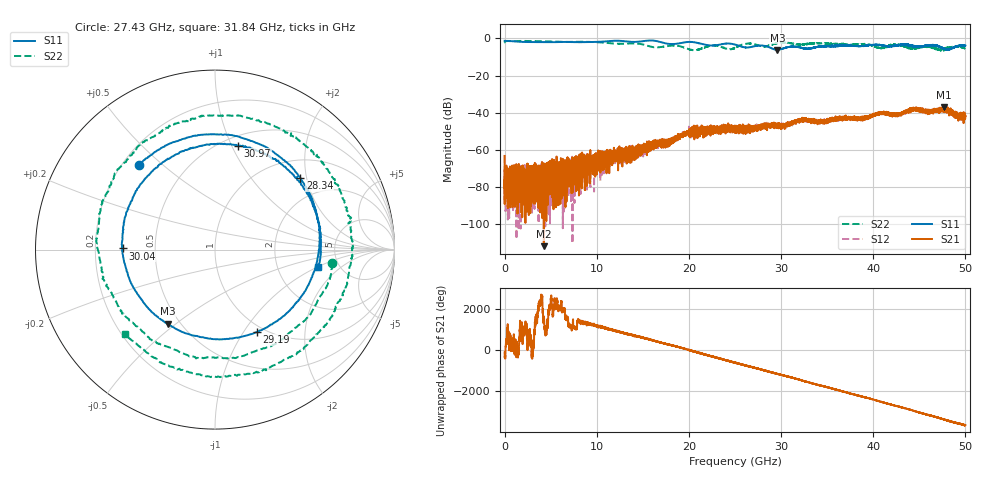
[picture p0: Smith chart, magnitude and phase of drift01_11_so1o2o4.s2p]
!Created with skrf (http://scikit-rf.org).
# Hz S RI R 50.0
!freq ReS11 ImS11 ReS21 ImS21 ReS12 ImS12 ReS22 ImS22
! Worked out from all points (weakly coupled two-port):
!   10001 points, 300 kHz to 50 GHz, reference 50 ohm
!   highest |S21| = -36.84 dB at 47.71 GHz (marker M1); lowest = -111.8 dB at 4.255 GHz (marker M2)
!   lowest |S11| = -6.2 dB at 29.61 GHz (marker M3), VSWR 2.92, Z = 21.5 - j23.4 ohm
!   |S11| at or under -10 dB: nowhere
!   |S22| runs from -6.6 to -1.4 dB; largest |S21 - S12| = 0.0038
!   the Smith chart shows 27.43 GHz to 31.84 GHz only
!   S11 on the Smith chart (normalised r, x): 27.43 GHz: 0.27, +0.42; 28.34 GHz: 1.41, +1.84; 29.19 GHz: 0.92, -1.15; 30.04 GHz: 0.32, +0.01; 30.97 GHz: 0.59, +1.06; 31.84 GHz: 3.46, -1.02
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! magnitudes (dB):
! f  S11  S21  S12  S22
! 300 kHz  -1.3  -63.2  -63.1  -2.0
! 255.3 MHz  -1.4  -80.0  -82.6  -1.4
! 505.3 MHz  -1.4  -77.7  -78.9  -1.4
! 4.255 GHz  -2.1  -111.8  -83.5  -1.5
! 7.195 GHz  -2.0  -71.2  -71.6  -1.9
! 8.335 GHz  -2.0  -68.3  -71.2  -1.8
! 16.67 GHz  -1.7  -57.7  -57.1  -4.8
! 20.61 GHz  -2.1  -49.4  -49.4  -6.3
! 22.59 GHz  -3.9  -47.4  -48.2  -3.8
! 25 GHz  -3.3  -48.9  -49.8  -5.1
! 27.43 GHz  -3.9  -49.9  -47.6  -3.6
! 28.34 GHz  -4.1  -47.2  -46.6  -4.2
! 29.19 GHz  -5.8  -46.5  -46.9  -3.1
! 29.61 GHz  -6.2  -46.3  -47.5  -2.5
! 30.04 GHz  -5.8  -46.2  -47.1  -2.2
! 30.97 GHz  -4.6  -45.8  -45.1  -2.5
! 31.84 GHz  -4.7  -44.3  -44.5  -3.2
! 33.34 GHz  -5.3  -44.9  -44.1  -2.7
! 41.67 GHz  -4.3  -40.8  -40.9  -4.4
! 46.43 GHz  -3.5  -38.7  -39.9  -4.6
! 47.71 GHz  -5.5  -36.8  -39.1  -5.7
! 50 GHz  -3.9  -41.8  -41.7  -5.5
